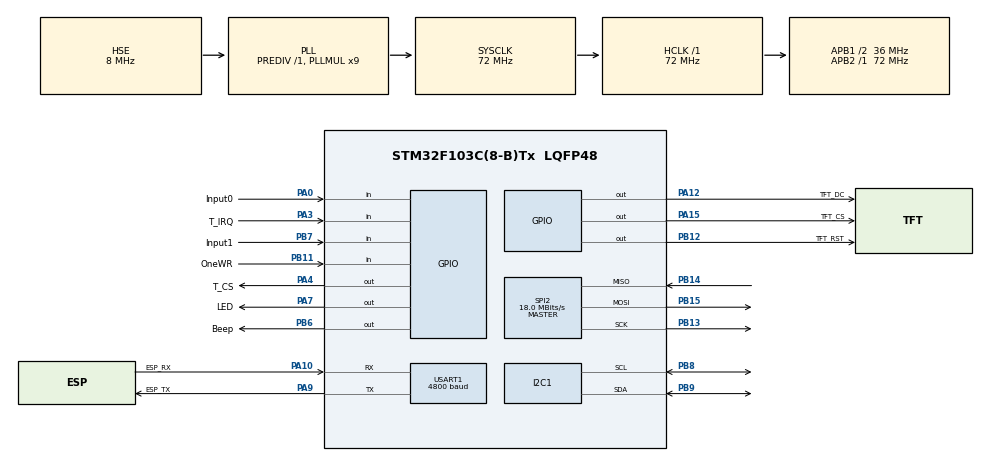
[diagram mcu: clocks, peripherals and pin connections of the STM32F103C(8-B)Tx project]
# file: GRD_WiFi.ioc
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Mcu.Family=STM32F1
Mcu.Name=STM32F103C(8-B)Tx
Mcu.Package=LQFP48
NVIC.PriorityGroup=NVIC_PRIORITYGROUP_4
NVIC.RTC_IRQn=true\:0\:0\:false\:false\:true\:true\:true\:true
NVIC.TIM1_UP_IRQn=true\:0\:0\:false\:false\:true\:true\:true\:true
NVIC.USART1_IRQn=true\:0\:0\:false\:false\:true\:true\:true\:true
PA0-WKUP.GPIO_Label=Input0
PA0-WKUP.GPIO_PuPd=GPIO_PULLUP
PA0-WKUP.Signal=GPIO_Input
PA10.GPIO_Label=ESP_RX
PA10.Mode=Asynchronous
PA10.Signal=USART1_RX
PA12.GPIO_Label=TFT_DC
PA12.GPIO_PuPd=GPIO_NOPULL
PA12.GPIO_Speed=GPIO_SPEED_FREQ_LOW
PA12.Signal=GPIO_Output
PA13.Mode=Serial_Wire
PA13.Signal=SYS_JTMS-SWDIO
PA14.Mode=Serial_Wire
PA14.Signal=SYS_JTCK-SWCLK
PA15.GPIO_Label=TFT_CS
PA15.GPIO_PuPd=GPIO_PULLUP
PA15.GPIO_Speed=GPIO_SPEED_FREQ_HIGH
PA15.Signal=GPIO_Output
PA3.GPIO_Label=T_IRQ
PA3.GPIO_PuPd=GPIO_NOPULL
PA3.Signal=GPIO_Input
PA4.GPIO_Label=T_CS
PA4.GPIO_PuPd=GPIO_PULLUP
PA4.GPIO_Speed=GPIO_SPEED_FREQ_HIGH
PA4.Signal=GPIO_Output
PA7.GPIO_Label=LED
PA7.PinState=GPIO_PIN_SET
PA7.Signal=GPIO_Output
PA9.GPIO_Label=ESP_TX
PA9.Mode=Asynchronous
PA9.Signal=USART1_TX
PB11.GPIO_Label=OneWR
PB11.GPIO_PuPd=GPIO_PULLUP
PB11.Signal=GPIO_Input
PB12.GPIO_Label=TFT_RST
PB12.GPIO_PuPd=GPIO_PULLUP
PB12.GPIO_Speed=GPIO_SPEED_FREQ_HIGH
PB12.Signal=GPIO_Output
PB13.Mode=Full_Duplex_Master
PB13.Signal=SPI2_SCK
PB14.Mode=Full_Duplex_Master
PB14.Signal=SPI2_MISO
PB15.Mode=Full_Duplex_Master
PB15.Signal=SPI2_MOSI
PB6.GPIO_Label=Beep
PB6.Signal=GPIO_Output
PB7.GPIO_Label=Input1
PB7.GPIO_PuPd=GPIO_PULLUP
PB7.Signal=GPIO_Input
PB8.GPIO_Pu=GPIO_PULLUP
PB8.Mode=I2C
PB8.Signal=I2C1_SCL
PB9.GPIO_Pu=GPIO_PULLUP
PB9.Mode=I2C
PB9.Signal=I2C1_SDA
PC14-OSC32_IN.Mode=LSE-External-Oscillator
PC14-OSC32_IN.Signal=RCC_OSC32_IN
PC15-OSC32_OUT.Mode=LSE-External-Oscillator
PC15-OSC32_OUT.Signal=RCC_OSC32_OUT
PD0-OSC_IN.Mode=HSE-External-Oscillator
PD0-OSC_IN.Signal=RCC_OSC_IN
PD1-OSC_OUT.Mode=HSE-External-Oscillator
PD1-OSC_OUT.Signal=RCC_OSC_OUT
ProjectManager.HeapSize=0x200
ProjectManager.StackSize=0x400
ProjectManager.TargetToolchain=MDK-ARM V5
RCC.AHBFreq_Value=72000000
RCC.APB1CLKDivider=RCC_HCLK_DIV2
RCC.APB1Freq_Value=36000000
RCC.APB1TimFreq_Value=72000000
RCC.APB2Freq_Value=72000000
RCC.APB2TimFreq_Value=72000000
RCC.HCLKFreq_Value=72000000
RCC.PLLMUL=RCC_PLL_MUL9
RCC.PLLSourceVirtual=RCC_PLLSOURCE_HSE
RCC.SYSCLKFreq_VALUE=72000000
RCC.SYSCLKSource=RCC_SYSCLKSOURCE_PLLCLK
RCC.USBFreq_Value=72000000
SPI2.CalculateBaudRate=18.0 MBits/s
SPI2.Direction=SPI_DIRECTION_2LINES
SPI2.Mode=SPI_MODE_MASTER
SPI2.VirtualType=VM_MASTER
TIM1.Period=999
TIM1.Prescaler=719
USART1.BaudRate=4800
USART1.VirtualMode=VM_ASYNC
VP_CRC_VS_CRC.Mode=CRC_Activate
VP_RTC_VS_RTC_Activate.Mode=RTC_Enabled
VP_TIM1_VS_ClockSourceINT.Mode=Internal
board=custom

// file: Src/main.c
/* USER CODE BEGIN Header */
/**
  ******************************************************************************
  * @file           : main.c
  * @brief          : Main program body
  ******************************************************************************
  * @attention
  *
  * Copyright (c) 2025 STMicroelectronics.
  * All rights reserved.
  *
  * This software is licensed under terms that can be found in the LICENSE file
  * in the root directory of this software component.
  * If no LICENSE file comes with this software, it is provided AS-IS.
  *
  ******************************************************************************
  */
/* USER CODE END Header */
#include "main.h"

/* USER CODE BEGIN Includes */
#include "..\Lib\st7796\myLCD.h"
#include "..\Lib\st7796\myGUI.h"
#include "..\Lib\Touch\XPT2046_touch.h"
#include "..\Lib\ds18b20\ds18b20.h"
#include "tft_proc.h"
#include "procedure.h"
#include "displ.h"
#include "nvRam.h"
#include "tftArcFill.h"
#include "uart.h"
/* USER CODE END Includes */

CRC_HandleTypeDef hcrc;

I2C_HandleTypeDef hi2c1;

RTC_HandleTypeDef hrtc;

SPI_HandleTypeDef hspi2;

TIM_HandleTypeDef htim1;

UART_HandleTypeDef huart1;

/* USER CODE BEGIN PV */
RTC_TimeTypeDef sTime;
RTC_DateTypeDef sDate;

char buffTFT[40];
const char* modeName[4]={"СУШЫННЯ","ОБЖАРКА","ВАРЫННЯ","КОПЧЕННЯ"};
const char* setName[MAX_SET]={"t КАМЕРИ","t ПРОДУКТА","t ДИМА","ТРИВАЛЫСТЬ","ШВИДКЫСТЬ","ТАЙМ.ON","ТАЙМ.OFF","ЫНШЕ"};
const char* otherName[MAX_OTHER]={"ПРОДУВАННЯ","АВАРЫЯ","ГЫСТЕРЕЗ","ОХОЛОДЖ.","Prop","Integ","Diff","N:","WiFi"};
const char* relayName[7]={"ПЫД","НАГРЫВ","ТАЙМЕР","ВОЛОГА","ЕЛЕКТРО","Кл.ДИМА","Кл.ВОДИ"};
//const char* analogName[2]={"ВЕНТИЛ.","ЫНШЕ"};
//        2.00V        3.15V        4.30V        5.45V        6.60V        7.75V        8.90V        10.00V
//={{1000,0x2F4},{1200,0x4A6},{1400,0x658},{1600,0x80A},{1800,0x9BC},{2000,0xB6E},{2200,0xD20},{2400,0xFFF}};//d=434->1.15V
//={{1000,0x2F4},{1200,0x4A6},{1400,0x655},{1600,0x804},{1800,0x9B6},{2000,0xB65},{2200,0xD14},{2400,0xFFF}};//d=434+коррекция
uint16_t speedData[MAX_SPEED][2], arhErrors[15];
int16_t pvTH, pvRH, tmrCounter, resetDispl=0, displOff=DISPLAYOFF;
uint16_t touch_x, touch_y, Y_str, X_left, Y_top, Y_bottom, fillScreen, color0, color1, checkSmoke, checkTime;
uint8_t dsplPW, displ_num, oldNumSet, buttonAmount, lost;
uint8_t timer10ms, tmrVent, ticBeep, pwTriac, invers;
uint8_t familycode[MAX_SENSOR][8], dsErr[MAX_SENSOR], myIp[4];
int8_t ds18b20_amount, numSet, tmrWater;
int8_t relaySet[8]={-1,-1,-1,-1,-1,-1,-1,-1};
int8_t analogSet[2]={-1,-1};
uint8_t analogOut[2]={0};

union Upv upv;
union Usd usd;
union Byte portFlag;
union Byte relayOut;
//union d4v crc;
PIDController pid;
#ifdef MANUAL_CHECK
  float flT0=320, dpv0;
#endif

//uint16_t xpos;
//uint16_t ypos;
//uint8_t radius;
//int16_t value;
//int16_t sp;

GrafDispl grafDispl[2] = {
    { 80,160,80, 0, 0},    // Инициализация grafDispl[0]
    {240,160,80, 0, 0},    // Инициализация grafDispl[1]
};

/* USER CODE END PV */

void SystemClock_Config(void);
static void MX_GPIO_Init(void);
static void MX_I2C1_Init(void);
static void MX_RTC_Init(void);
static void MX_TIM1_Init(void);
static void MX_CRC_Init(void);
static void MX_SPI2_Init(void);
static void MX_USART1_UART_Init(void);

/* USER CODE BEGIN 0 */
//-------- Обратный вызов с истекшим периодом --------------
void HAL_TIM_PeriodElapsedCallback(TIM_HandleTypeDef *htim){
  if(htim->Instance == TIM1){ //check if the interrupt comes from TIM1 (10 ms)
    checkTime++; timer10ms++;
    if(pwTriac) --pwTriac; else {
      TRIAC = OFF;                    // отключить (SSR-25DA)
      invers = ~relayOut.value;
      HAL_I2C_Master_Transmit(&hi2c1,0x4E,&invers,1,1000);
    }
    if(ticBeep){ --ticBeep; HAL_GPIO_WritePin(Beep_GPIO_Port, Beep_Pin, GPIO_PIN_SET);}// бипер
    else {HAL_GPIO_WritePin(Beep_GPIO_Port, Beep_Pin, GPIO_PIN_RESET);}
  }
}

/* USER CODE END 0 */

int main(void)
{

  /* USER CODE BEGIN 1 */
  int16_t i16;
  uint16_t u16;
//  uint8_t temp=0, pvspeed=0;

  /* USER CODE END 1 */

  /* MCU Configuration--------------------------------------------------------*/

  /* Reset of all peripherals, Initializes the Flash interface and the Systick. */
  HAL_Init();

  /* Configure the system clock */
  SystemClock_Config();

  /* Initialize all configured peripherals */
  MX_GPIO_Init();
  MX_I2C1_Init();
  MX_RTC_Init();
  MX_TIM1_Init();
  MX_CRC_Init();
  MX_SPI2_Init();
  MX_USART1_UART_Init();
  /* USER CODE BEGIN 2 */
  u16 = sendToI2c(0);//  отключение вентилятора

  HAL_GPIO_WritePin(Beep_GPIO_Port, Beep_Pin, GPIO_PIN_SET);
  HAL_Delay(200);
  HAL_GPIO_WritePin(Beep_GPIO_Port, Beep_Pin, GPIO_PIN_RESET);

  fillScreen = BLACK; color0 = WHITE;
  Y_bottom=lcddev.height-22; Y_str = 5;
  LCD_Init(USE_VERTICAL0);
  GUI_Clear(fillScreen);
  if((lcddev.dir&1)==0) X_left = 20; else X_left = 100;
  #ifdef MANUAL_CHECK
  GUI_WriteString(30, Y_str, "MANUAL CHECK", Font_16x26, ORANGE, fillScreen);
  #else
  GUI_WriteString(30, Y_str, "GRD Max", Font_16x26, WHITE, fillScreen);
  GUI_WriteString(160, Y_str+5, " v 4.2.0 WiFi", Font_11x18, WHITE, fillScreen);
  #endif
  Y_str = Y_str+18+35;

  i16 = initData();
  ds18b20_port_init();      // линия 1-Wire
  ds18b20_checkSensor(4);   // check DS18B20 sensors: only 4 pcs

  switch (i16){
  	case 0: GUI_WriteString(5, Y_str, "Ыныцыалызацыя успышна.", Font_11x18, GREEN, BLACK);	break;
  	case 1: GUI_WriteString(5, Y_str, "Первинна ыныцыалызацыя.", Font_11x18, YELLOW, BLACK);	break;
    case 3: GUI_WriteString(5, Y_str, "Помилки читання FLASH!", Font_11x18, YELLOW, RED);	break;
  	default:GUI_WriteString(5, Y_str, "Невыдома помилка!", Font_11x18, MAGENTA, BLACK);	break;
  }
  Y_str = Y_str+18+5;

  if(i16){
    sprintf(buffTFT,"Check sum: 0x%08X",dataRAM.config.checkSum);
    GUI_WriteString(5, Y_str, buffTFT, Font_11x18, WHITE, BLACK);
    Y_str = Y_str+18+5;
    sprintf(buffTFT,"Number of saves: %u",dataRAM.config.countSave);
    GUI_WriteString(5, Y_str, buffTFT, Font_11x18, WHITE, BLACK);
    Y_str = Y_str+18+5;
    HAL_Delay(1000);
  }
  //---------------------------- линия 1-Wire -----------------------------------
  if(ds18b20_amount){
    for(uint8_t i=0;i<ds18b20_amount;i++) upv.pv.t[i]=1999;
    ds18b20_Convert_T();
  }
  sprintf(buffTFT,"Датчикыв температури: %d шт.",ds18b20_amount);
  GUI_WriteString(5, Y_str, buffTFT, Font_11x18, CYAN, BLACK);
  Y_str = Y_str+18+5;

  HAL_GPIO_WritePin(Beep_GPIO_Port, Beep_Pin, GPIO_PIN_SET);
  HAL_Delay(200);
  HAL_GPIO_WritePin(Beep_GPIO_Port, Beep_Pin, GPIO_PIN_RESET);
  HAL_Delay(200);
  HAL_GPIO_WritePin(Beep_GPIO_Port, Beep_Pin, GPIO_PIN_SET);
  HAL_Delay(200);
  HAL_GPIO_WritePin(Beep_GPIO_Port, Beep_Pin, GPIO_PIN_RESET);

  HAL_RTCEx_SetSecond_IT(&hrtc);          /* ------  таймер 1Гц.  период  1 сек.    ----*/
  HAL_TIM_Base_Start_IT(&htim1);          /* ------  таймер 100Гц.  период  10 мс.  ----*/

  NEWBUTT = ON;
  sprintf(buffTFT,"Kp=%2.1f; Ki=%1.4f; Kd=%3u;",pid.Kp,pid.Ki,pid.Kd);
  GUI_WriteString(5, Y_str, buffTFT, Font_11x18, YELLOW, BLACK);
  Y_str = Y_str+18+5;
  #ifdef MANUAL_CHECK
      sprintf(buffTFT,"WIDTH: %u; HEIGHT: %u",lcddev.width,lcddev.height);
      GUI_WriteString(5, Y_str, buffTFT, Font_11x18, YELLOW, BLACK);
      Y_str = Y_str+18+5;
      upv.pv.t[1]=220; upv.pv.t[2]=150; upv.pv.t[3]=200;
      int8_t dpv1 = 2, dpv2 = 2, dpv3 = 2, count;
  #endif
  // -------------------------------------- КЛЮЧЕВАЯ ЛОГИКА ВОССТАНОВЛЕНИЯ ПОСЛЕ СБОЯ ПИТАНИЯ -----------------------------------
  // Читаем регистр с флагом если "магическое число" на месте, значит, питание пропало во время сушки.
  if (HAL_RTCEx_BKUPRead(&hrtc, BKP_REG_DRYING_FLAG) == DRYING_PROCESS_FLAG_MAGIC){
    // Восстанавливаем время.
    uint32_t current_time_minutes = HAL_RTCEx_BKUPRead(&hrtc, BKP_REG_REMAINING_TIME);
    sTime.Hours = current_time_minutes/60;
    sTime.Minutes = current_time_minutes%60;
    NEWBUTT = 1; startPrg(1);
    GUI_WriteString(5, Y_str, "Виявлений збый живлення!", Font_11x18, RED, BLACK);
    Y_str = Y_str+18+5;
    sprintf(buffTFT,"Выдновлення з %u год. %u хв.",sTime.Hours, sTime.Minutes);
    GUI_WriteString(5, Y_str, buffTFT, Font_11x18, YELLOW, BLACK);
    Y_str = Y_str+18+5;
    ticBeep=255;
    HAL_Delay(5000);
    ticBeep=255;
    HAL_Delay(5000);
  } else {
    GUI_WriteString(5, Y_str, "Звичайний старт!", Font_11x18, GREEN, BLACK);
    Y_str = Y_str+18+5;
  }
  // ------------------------------------------------- КОНЕЦ ЛОГИКИ ВОССТАНОВЛЕНИЯ ----------------------------------------------------
  HAL_Delay(800);
  temperature_check();
  for (i16 = 0; i16 < ds18b20_amount; i16++){
      sprintf(buffTFT,"Датчик N%u = %3.1f$ ", i16+1,(float)upv.pv.t[i16]/10);
      GUI_WriteString(5, Y_str, buffTFT, Font_11x18, WHITE, BLACK);
      Y_str = Y_str+18+5;
  }
  ticBeep=50;
  HAL_Delay(3000);
  /* USER CODE END 2 */

  /* Infinite loop */
  /* USER CODE BEGIN WHILE */
  while (1)
  {
        Y_str = 5; X_left = 5;
    //-------------------------- ТАЧСКРИН ---------------------------------------
    if(XPT2046_TouchPressed()&& checkTime>40){
      uint8_t butt_num;
      if(XPT2046_TouchGetCoordinates(&touch_x, &touch_y)){
        HAL_GPIO_WritePin(LED_GPIO_Port, LED_Pin, GPIO_PIN_SET);// включение дисплея
        displOff=DISPLAYOFF;
        for (butt_num=0; butt_num<buttonAmount; butt_num++){
            if(contains(touch_x, touch_y, butt_num)) break;     // проверка попадания новой координаты в область кнопки
        }
      }
      checkButtons(butt_num);                           // проверка нажатой кнопки
      if(displ_num==0 && !(WORK|VENTIL|PURGING)){
        if(topDispl(touch_x, touch_y)) {newval[0] = upv.pv.modeCell; newval[1]=-1; newval[2]=-1; displ_num = 4; butt_num = 10; resetDispl = 180; NEWBUTT = 1;} // ЗМІНА РЕЖИМУ
      }
      checkTime = 0; CHECK = ON;
    }

    // ----------- УВЛАЖНИТЕЛЬ только в режиме варка modeCell==2 и TMON && TMOFF !=0 --------------------
    if(WORK && upv.pv.modeCell==2){
      if(upv.pv.set[TMON]!=0 && upv.pv.set[TMOFF]!=0){
        if(timer10ms){                  // шаг отсчета интервала таймера 10 милисек.
          timer10ms=0;
          HUMIDI=humidifier(HUMIDI);    // проверим выход на увлажнитель
          invers = ~relayOut.value;
          HAL_I2C_Master_Transmit(&hi2c1,0x4E,&invers,1,1000);
        }
      }
    }

    //-------------- Начало проверки каждую 1 сек. -----------------------
    if(CHECK){ CHECK = OFF; upv.pv.errors=0;  //if(++temp>10) {temp=0; ++pvspeed; pvspeed&=7; upv.pv.t[1] = speedData[pvspeed][0]; sendToI2c(speedData[pvspeed][1]);}
    dsplPW = 0;
    if(resetDispl) --resetDispl;
    else if(displ_num){displ_num = 0; NEWBUTT = 1; displOff=DISPLAYOFF;}  // возврат к главному дисплею
    else if(displOff) --displOff;
    else HAL_GPIO_WritePin(LED_GPIO_Port, LED_Pin, GPIO_PIN_RESET);       // отключение дисплея через 5 минут

    #ifndef MANUAL_CHECK
      temperature_check();
    #endif
      //---------------------------------- Проверка работы вентилятора -------------------------------------
      if(VENTIL){
        if(HAL_GPIO_ReadPin(Input0_GPIO_Port, Input0_Pin) == GPIO_PIN_RESET) {SPEED=ON; tmrVent=0;} // если контакт замкнут
        else SPEED=OFF;
    #ifdef MANUAL_CHECK
        SPEED=ON; tmrVent=0;
    #endif
        if(tmrVent) --tmrVent;    // ожидаем замыкания контакта частотного преобразователя
        else if(SPEED) WORK=ON;
        else {upv.pv.errors |= ERR8; WORK=OFF; relayOut.value=OFF;}  // НЕ ПРАЦЮЭ ВЕНТИЛЯТОР
      }
      //------------------------------------------- В РАБОТЕ -----------------------------------------------
      if(WORK){
        TIMER=ON;         // всегда включен в работу
        if(upv.pv.modeCell==2){  // только в режиме варка modeCell==2
          if(HAL_GPIO_ReadPin(Input1_GPIO_Port, Input1_Pin) == GPIO_PIN_RESET){
            if(++tmrWater>5) {tmrWater=5; WATER=ON;}
          }
          else {
            if(--tmrWater<0) {tmrWater=0; WATER=OFF;}
          }
        }
        else WATER=OFF;
        //------------ устанавливаем color0 в соответсвии с отклонением ------------------------
        i16 = upv.pv.set[T0]*10 - upv.pv.t[0];           // величина ошибки регулирования датчика 0
        uint16_t abs16 = abs(i16);
        if(abs16 < upv.pv.set[HIST]) PERFECT=ON;         // Вышли на заданную температуру
        u16 = upv.pv.set[ALRM]*10;                     // привяжем к аварии

        if(i16<=0){
          if(abs16<u16) color0 = GREEN;         // норма
          else if(abs16>=u16 && abs16<u16*2){upv.pv.errors|=ERR5; color0 = ORANGE;} // ВІДХІЛЕННЯ ТЕМПЕРАТУРИ
          else {upv.pv.errors|=ERR3; color0 = RED;}    // ПЕРЕГРЕВ В КАМЕРЕ
        }
        else {
          if(abs16<u16) color0 = GREEN;         // норма
          else if(abs16>=u16*2){
            color0 = CYAN;                      // НИЖЕ нормы
            if(PERFECT) upv.pv.errors|=ERR5;           // ВІДХІЛЕННЯ ТЕМПЕРАТУРИ
          }
        }

        //------------ устанавливаем color1 в соответсвии с отклонением -------------------------
        i16 = upv.pv.set[T1]*10 - upv.pv.t[1];           // величина ошибки регулирования датчика 1
        abs16 = abs(i16);

        if(i16<=0){
          if(abs16<u16/2)color1 = GREEN;        // норма
          else if(abs16>=u16/2 && abs16<u16) color1 = ORANGE;  // ВІДХІЛЕННЯ ТЕМПЕРАТУРИ
          else {upv.pv.errors|=ERR4; color1 = RED;}    // ПЕРЕГРЕВ В ПРОДУКТЕ
        }
        else {
          if(abs16<u16/2)color1 = GREEN;        // норма
          else if(abs16>=u16) color1 = CYAN;    // НИЖЕ нормы
        }

        // ---------------------------------------- НАГРЕВАТЕЛЬ / ОХЛАДИТЕЛЬ -------------------------------------
        //------ работает как нагреватель
        if(upv.pv.t[0]<1999 && upv.pv.t[0]>1){
          i16 = Relay(upv.pv.set[T0]*10 - upv.pv.t[0], upv.pv.set[HIST]);   // величина ошибки температуры воздуха
        }
        if(ds18b20_amount>1 && upv.pv.t[1]<1999){             // величина ошибки температурs среды
          u16 = Relay(upv.pv.set[T1]*10 - upv.pv.t[1], 0);
        }
        if(u16==ON) pwTriac = UpdatePID(&pid,0);            // ПИД нагреватель
        else {i16 = OFF; upv.pv.errors &= ~ERR5;}
        if(pwTriac) TRIAC = ON;                             // включить (SSR-25DA)
        dsplPW = pwTriac;
        if(dsplPW>100) dsplPW = 100;
        //------ работает как охладитель
        if(upv.pv.set[CHILL]&1){
          i16 = Relay(upv.pv.t[0] - upv.pv.set[T0]*10, upv.pv.set[HIST]);
          if(upv.pv.t[0] > BEGINCOOL) i16 = OFF;              // температура выше которой ЗАПРЕЩЕНО включение охлаждения
        }
        switch (i16){
          case ON:  HEATER = ON;  break;
          case OFF: HEATER = OFF; break;
        }

        //-------------------------- Только для режима КОПЧЕНИЯ ---------------------------------
        if(upv.pv.modeCell==3){
          ELECTRO = ignition(ELECTRO);
          i16 = upv.pv.set[T2]*10 - upv.pv.t[2];   // величина ошибки регулирования датчика 2 (Дым)
          if(++checkSmoke>CHKSMOKE){      // (відхилення 2 грд.Ц) ТЕМПЕРАТУРЫ ДЫМА
            checkSmoke=CHKSMOKE;
            if(abs(i16) > upv.pv.set[ALRM]*10*2) upv.pv.errors|=ERR6;
          }
          u16 = Relay(i16, upv.pv.set[HIST]);  // величина ошибки температуры дыма
          switch (u16){
            case ON:  SMOKE = ON;  break;
            case OFF: SMOKE = OFF; break;
          }
        }

        //-------------------------- Только для режима ВАРЕНИЯ ---------------------------------
        if(upv.pv.modeCell==2){
          if(upv.pv.set[TMON]==0 || upv.pv.set[TMOFF]==0){
            i16 = upv.pv.set[T3]*10 - upv.pv.t[3];     // величина ошибки регулирования датчика 3 (Влажность)
            u16 = Relay(i16, upv.pv.set[HIST]);      // ЧЕТВЕРТЫЙ датчик - датчик влажности
            if(upv.pv.t[0] < BEGINHUM) u16=OFF; // запрет увлажнения при температуре ниже 40 грд.
            switch (u16){
              case ON:  HUMIDI = ON;  break;
              case OFF: HUMIDI = OFF; break;
            }
          }
        }
//        else HUMIDI = OFF;

#ifdef MANUAL_CHECK
        //?????? Програмное задание температур ??????????
        count++;
        //-----температура воздуха------
        dpv0 = (float)pid.pPart/500 + (float)(pid.output-5)/100;
        flT0+=dpv0;
        upv.pv.t[0] = flT0;
        int16_t pverr = upv.pv.set[T0]*10 - upv.pv.t[0];
        //----температура среды------
        if(count>3){ count=0;
          pverr = upv.pv.set[T1]*10 - upv.pv.t[1];
          dpv1 =-1;
          if(pverr>200) dpv1 = 6;
          else if(pverr>100) dpv1 = 4;
          else if(pverr>50) dpv1 = 2;
          else if(pverr>10) dpv1 = 1;
          upv.pv.t[1]+=dpv1;
        }
        //-----температура дыма---------
        pverr = upv.pv.set[T2]*10 - upv.pv.t[2];
        if(pverr>50) dpv2 = 5;
        else if(pverr>25) dpv2 = 1;
        else if(pverr<-25) dpv2 = -1;
        if(i16==OFF) dpv2=0;
        upv.pv.t[2]+=dpv2;
        //----влажный датчик--------
        pverr = upv.pv.set[T3]*10 - upv.pv.t[3];
        if(pverr>150) dpv3 = 5;
        else if(HUMIDI==ON) dpv3 = 1;
        else if(HUMIDI==OFF) dpv3 = -1;
        upv.pv.t[3]+=dpv3;
        //????????????????????????????????????????????????
#endif

        //------------------------- ЗВЕРШЕНИЕ текущего режима ----------------------------------
        if(upv.pv.set[TMR0]>0){                                // если TMR0>0 то завершение режима по таймеру
          u16 = sTime.Hours*60 + sTime.Minutes;         // всего в минутах
          i16 = (upv.pv.set[TMR0] - u16)*60 - sTime.Seconds;   // осталось до выключения в секундах
          if(i16<30) ticBeep = 5;                       // включить сигнал
          if(i16<=0){                                   // завершение режима
            portFlag.value = OFF; PURGING=ON; relayOut.value=OFF; ticBeep=200;
            //------- далее продувка ---------
              sTime.Hours=0; sTime.Minutes=0; sTime.Seconds=0;
              HAL_RTC_SetTime(&hrtc, &sTime, RTC_FORMAT_BIN);
          }
        }
        else if(ds18b20_amount==1){      // если только 1 датчик и продолжительность 0 то завершение по температуре камеры.
          i16 = Relay(upv.pv.set[T0]*10 - upv.pv.t[0], 0);   // температура камеры
          if(i16==OFF){
            portFlag.value = OFF; PURGING=ON; relayOut.value=OFF; ticBeep=200;
            //------- далее продувка ---------
            sTime.Hours=0; sTime.Minutes=0; sTime.Seconds=0;
            HAL_RTC_SetTime(&hrtc, &sTime, RTC_FORMAT_BIN);
          }
        }
        else if(ds18b20_amount>1){      // если датчиков много и продолжительность 0 то завершение по температуре среды.
          i16 = Relay(upv.pv.set[T1]*10 - upv.pv.t[1], 0);   // температура камеры
          if(i16==OFF){
            portFlag.value = OFF; PURGING=ON; relayOut.value=OFF; ticBeep=200;
            //------- далее продувка ---------
            sTime.Hours=0; sTime.Minutes=0; sTime.Seconds=0;
            HAL_RTC_SetTime(&hrtc, &sTime, RTC_FORMAT_BIN);
          }
        }

      } //--------------------------- КОНЕЦ в работе -----------------------------------------------
      else if(PURGING){
        u16 = sTime.Minutes*60+sTime.Seconds;           // всего в секундах
        if(u16>=upv.pv.set[TMR1]) {PURGING=OFF; sendToI2c(0); NEWBUTT=ON; ticBeep=200;}
      }
      //------ Проверка на ручное управление ---------------------------------------
      for (i16=0;i16<7;i16++){
          if(relaySet[i16]==1) relayOut.value |= (1<<(i16)); // ручной On
          if(relaySet[i16]==0) relayOut.value &= ~(1<<(i16));// ручной Off
      }
      invers = ~relayOut.value;
      HAL_I2C_Master_Transmit(&hi2c1,0x4E,&invers,1,1000);
//      for (i16=0;i16<2;i16++){  // ручное управление аналоговыми выводами
//        if(analogSet[i16]>-1) analogOut[i16]=analogSet[i16];
//      }
      if(upv.pv.errors && (upv.pv.set[CHILL]&2)==0){    // 2-отключены аварийные звуковые сигналы
        switch (upv.pv.errors){
          case 0x01: ticBeep = 80; break; // ПОМИЛКА ДАТЧИКА N1
          case 0x02: ticBeep = 80; break; // ПОМИЛКА ДАТЧИКА N2
          case 0x04: ticBeep = 80; break; // ПОМИЛКА ДАТЧИКА N3
          case 0x08: ticBeep = 80; break; // ПОМИЛКА ДАТЧИКА N4
          case ERR3: ticBeep = 80; break; // ПЕРЕГРЫВ В КАМЕРI
          case ERR4: ticBeep =120; break; // ПЕРЕГРЫВ В ПРОДУКТI
          case ERR5: ticBeep = 10; break; // ВЫДХЫЛЕННЯ ТЕМПЕРАТУРИ
          case ERR6: ticBeep = 20; break; // ВЫДХЫЛЕННЯ ТЕМПЕРАТУРИ ДИМA
          case ERR7: ticBeep = 60; break; //
          case ERR8: ticBeep = 60; break; // НЕ ПРАЦЮЭ ВЕНТИЛЯТОР
          default:
            if(upv.pv.errors==0x0C) ticBeep = 80;
            else ticBeep =200;
          break;
        }
      }
      if(upv.pv.errors) ALARM = ON; else ALARM = OFF;  // световой сигнал ошибки
      display();
      // -------------------- UART ----------------------------------
      upv.pv.portFlag = portFlag.value;
      upv.pv.currHour = sTime.Hours;
      upv.pv.currMin = sTime.Minutes;
      upv.pv.currSec = sTime.Seconds;
      //-------------------------------------------------------------
      uint8_t crc[2] = {0,END_MARKER}, stmk = START_MARKER;
      for(uint8_t i=0;i<RAMPV_SIZE;i++) {
          crc[0] ^= upv.dataUnion[i]; // Using XOR to calculate the checksum
      }
      HAL_UART_Transmit(&huart1,&stmk,1,0x1000);      // Отправляем: [Старт]
      HAL_UART_Transmit(&huart1,upv.dataUnion,RAMPV_SIZE,0x1000); // [Данные]
      HAL_UART_Transmit(&huart1,crc,2,0x1000);                    // [CRC] [Конец]
      HAL_UART_Receive_IT(&huart1,(uint8_t*)rxBuffer,SEND_SIZE+3);// Принимаем [Старт][Данные][CRC][Конец]
    }
    //-------------- КОНЕЦ проверки каждую 1 сек. -----------------------
    /* USER CODE END WHILE */

  }
}

void SystemClock_Config(void)
{
  RCC_OscInitTypeDef RCC_OscInitStruct = {0};
  RCC_ClkInitTypeDef RCC_ClkInitStruct = {0};
  RCC_PeriphCLKInitTypeDef PeriphClkInit = {0};

  /** Initializes the RCC Oscillators according to the specified parameters
  * in the RCC_OscInitTypeDef structure.
  */
  RCC_OscInitStruct.OscillatorType = RCC_OSCILLATORTYPE_LSI|RCC_OSCILLATORTYPE_HSE;
  RCC_OscInitStruct.HSEState = RCC_HSE_ON;
  RCC_OscInitStruct.HSEPredivValue = RCC_HSE_PREDIV_DIV1;
  RCC_OscInitStruct.HSIState = RCC_HSI_ON;
  RCC_OscInitStruct.LSIState = RCC_LSI_ON;
  RCC_OscInitStruct.PLL.PLLState = RCC_PLL_ON;
  RCC_OscInitStruct.PLL.PLLSource = RCC_PLLSOURCE_HSE;
  RCC_OscInitStruct.PLL.PLLMUL = RCC_PLL_MUL9;
  if (HAL_RCC_OscConfig(&RCC_OscInitStruct) != HAL_OK)
  {
    Error_Handler();
  }

  /** Initializes the CPU, AHB and APB buses clocks
  */
  RCC_ClkInitStruct.ClockType = RCC_CLOCKTYPE_HCLK|RCC_CLOCKTYPE_SYSCLK
                              |RCC_CLOCKTYPE_PCLK1|RCC_CLOCKTYPE_PCLK2;
  RCC_ClkInitStruct.SYSCLKSource = RCC_SYSCLKSOURCE_PLLCLK;
  RCC_ClkInitStruct.AHBCLKDivider = RCC_SYSCLK_DIV1;
  RCC_ClkInitStruct.APB1CLKDivider = RCC_HCLK_DIV2;
  RCC_ClkInitStruct.APB2CLKDivider = RCC_HCLK_DIV1;

  if (HAL_RCC_ClockConfig(&RCC_ClkInitStruct, FLASH_LATENCY_2) != HAL_OK)
  {
    Error_Handler();
  }
  PeriphClkInit.PeriphClockSelection = RCC_PERIPHCLK_RTC;
  PeriphClkInit.RTCClockSelection = RCC_RTCCLKSOURCE_LSI;
  if (HAL_RCCEx_PeriphCLKConfig(&PeriphClkInit) != HAL_OK)
  {
    Error_Handler();
  }
}

static void MX_CRC_Init(void)
{

  hcrc.Instance = CRC;
  if (HAL_CRC_Init(&hcrc) != HAL_OK)
  {
    Error_Handler();
  }

}

static void MX_I2C1_Init(void)
{

  hi2c1.Instance = I2C1;
  hi2c1.Init.ClockSpeed = 100000;
  hi2c1.Init.DutyCycle = I2C_DUTYCYCLE_2;
  hi2c1.Init.OwnAddress1 = 0;
  hi2c1.Init.AddressingMode = I2C_ADDRESSINGMODE_7BIT;
  hi2c1.Init.DualAddressMode = I2C_DUALADDRESS_DISABLE;
  hi2c1.Init.OwnAddress2 = 0;
  hi2c1.Init.GeneralCallMode = I2C_GENERALCALL_DISABLE;
  hi2c1.Init.NoStretchMode = I2C_NOSTRETCH_DISABLE;
  if (HAL_I2C_Init(&hi2c1) != HAL_OK)
  {
    Error_Handler();
  }

}

static void MX_RTC_Init(void)
{

  /** Initialize RTC Only
  */
  hrtc.Instance = RTC;
  hrtc.Init.AsynchPrediv = RTC_AUTO_1_SECOND;
  hrtc.Init.OutPut = RTC_OUTPUTSOURCE_ALARM;
  if (HAL_RTC_Init(&hrtc) != HAL_OK)
  {
    Error_Handler();
  }

}

static void MX_SPI2_Init(void)
{

  /* SPI2 parameter configuration*/
  hspi2.Instance = SPI2;
  hspi2.Init.Mode = SPI_MODE_MASTER;
  hspi2.Init.Direction = SPI_DIRECTION_2LINES;
  hspi2.Init.DataSize = SPI_DATASIZE_8BIT;
  hspi2.Init.CLKPolarity = SPI_POLARITY_LOW;
  hspi2.Init.CLKPhase = SPI_PHASE_1EDGE;
  hspi2.Init.NSS = SPI_NSS_SOFT;
  hspi2.Init.BaudRatePrescaler = SPI_BAUDRATEPRESCALER_2;
  hspi2.Init.FirstBit = SPI_FIRSTBIT_MSB;
  hspi2.Init.TIMode = SPI_TIMODE_DISABLE;
  hspi2.Init.CRCCalculation = SPI_CRCCALCULATION_DISABLE;
  hspi2.Init.CRCPolynomial = 10;
  if (HAL_SPI_Init(&hspi2) != HAL_OK)
  {
    Error_Handler();
  }

}

static void MX_TIM1_Init(void)
{

  TIM_ClockConfigTypeDef sClockSourceConfig = {0};
  TIM_MasterConfigTypeDef sMasterConfig = {0};

  htim1.Instance = TIM1;
  htim1.Init.Prescaler = 719;
  htim1.Init.CounterMode = TIM_COUNTERMODE_UP;
  htim1.Init.Period = 999;
  htim1.Init.ClockDivision = TIM_CLOCKDIVISION_DIV1;
  htim1.Init.RepetitionCounter = 0;
  htim1.Init.AutoReloadPreload = TIM_AUTORELOAD_PRELOAD_DISABLE;
  if (HAL_TIM_Base_Init(&htim1) != HAL_OK)
  {
    Error_Handler();
  }
  sClockSourceConfig.ClockSource = TIM_CLOCKSOURCE_INTERNAL;
  if (HAL_TIM_ConfigClockSource(&htim1, &sClockSourceConfig) != HAL_OK)
  {
    Error_Handler();
  }
  sMasterConfig.MasterOutputTrigger = TIM_TRGO_RESET;
  sMasterConfig.MasterSlaveMode = TIM_MASTERSLAVEMODE_DISABLE;
  if (HAL_TIMEx_MasterConfigSynchronization(&htim1, &sMasterConfig) != HAL_OK)
  {
    Error_Handler();
  }

}

static void MX_USART1_UART_Init(void)
{

  huart1.Instance = USART1;
  huart1.Init.BaudRate = 4800;
  huart1.Init.WordLength = UART_WORDLENGTH_8B;
  huart1.Init.StopBits = UART_STOPBITS_1;
  huart1.Init.Parity = UART_PARITY_NONE;
  huart1.Init.Mode = UART_MODE_TX_RX;
  huart1.Init.HwFlowCtl = UART_HWCONTROL_NONE;
  huart1.Init.OverSampling = UART_OVERSAMPLING_16;
  if (HAL_UART_Init(&huart1) != HAL_OK)
  {
    Error_Handler();
  }

}

static void MX_GPIO_Init(void)
{
  GPIO_InitTypeDef GPIO_InitStruct = {0};

  /* GPIO Ports Clock Enable */
  __HAL_RCC_GPIOC_CLK_ENABLE();
  __HAL_RCC_GPIOD_CLK_ENABLE();
  __HAL_RCC_GPIOA_CLK_ENABLE();
  __HAL_RCC_GPIOB_CLK_ENABLE();

  /*Configure GPIO pin Output Level */
  HAL_GPIO_WritePin(GPIOA, T_CS_Pin|TFT_DC_Pin|TFT_CS_Pin, GPIO_PIN_RESET);

  /*Configure GPIO pin Output Level */
  HAL_GPIO_WritePin(LED_GPIO_Port, LED_Pin, GPIO_PIN_SET);

  /*Configure GPIO pin Output Level */
  HAL_GPIO_WritePin(GPIOB, TFT_RST_Pin|Beep_Pin, GPIO_PIN_RESET);

  /*Configure GPIO pin : Input0_Pin */
  GPIO_InitStruct.Pin = Input0_Pin;
  GPIO_InitStruct.Mode = GPIO_MODE_INPUT;
  GPIO_InitStruct.Pull = GPIO_PULLUP;
  HAL_GPIO_Init(Input0_GPIO_Port, &GPIO_InitStruct);

  /*Configure GPIO pin : T_IRQ_Pin */
  GPIO_InitStruct.Pin = T_IRQ_Pin;
  GPIO_InitStruct.Mode = GPIO_MODE_INPUT;
  GPIO_InitStruct.Pull = GPIO_NOPULL;
  HAL_GPIO_Init(T_IRQ_GPIO_Port, &GPIO_InitStruct);

  /*Configure GPIO pins : T_CS_Pin TFT_CS_Pin */
  GPIO_InitStruct.Pin = T_CS_Pin|TFT_CS_Pin;
  GPIO_InitStruct.Mode = GPIO_MODE_OUTPUT_PP;
  GPIO_InitStruct.Pull = GPIO_PULLUP;
  GPIO_InitStruct.Speed = GPIO_SPEED_FREQ_HIGH;
  HAL_GPIO_Init(GPIOA, &GPIO_InitStruct);

  /*Configure GPIO pins : LED_Pin TFT_DC_Pin */
  GPIO_InitStruct.Pin = LED_Pin|TFT_DC_Pin;
  GPIO_InitStruct.Mode = GPIO_MODE_OUTPUT_PP;
  GPIO_InitStruct.Pull = GPIO_NOPULL;
  GPIO_InitStruct.Speed = GPIO_SPEED_FREQ_LOW;
  HAL_GPIO_Init(GPIOA, &GPIO_InitStruct);

  /*Configure GPIO pins : OneWR_Pin Input1_Pin */
  GPIO_InitStruct.Pin = OneWR_Pin|Input1_Pin;
  GPIO_InitStruct.Mode = GPIO_MODE_INPUT;
  GPIO_InitStruct.Pull = GPIO_PULLUP;
  HAL_GPIO_Init(GPIOB, &GPIO_InitStruct);

  /*Configure GPIO pin : TFT_RST_Pin */
  GPIO_InitStruct.Pin = TFT_RST_Pin;
  GPIO_InitStruct.Mode = GPIO_MODE_OUTPUT_PP;
  GPIO_InitStruct.Pull = GPIO_PULLUP;
  GPIO_InitStruct.Speed = GPIO_SPEED_FREQ_HIGH;
  HAL_GPIO_Init(TFT_RST_GPIO_Port, &GPIO_InitStruct);

  /*Configure GPIO pin : Beep_Pin */
  GPIO_InitStruct.Pin = Beep_Pin;
  GPIO_InitStruct.Mode = GPIO_MODE_OUTPUT_PP;
  GPIO_InitStruct.Pull = GPIO_NOPULL;
  GPIO_InitStruct.Speed = GPIO_SPEED_FREQ_LOW;
  HAL_GPIO_Init(Beep_GPIO_Port, &GPIO_InitStruct);

}

/* USER CODE BEGIN 4 */
void HAL_UART_RxCpltCallback(UART_HandleTypeDef *huart){
  espCallback();
}
/* USER CODE END 4 */

void Error_Handler(void)
{
  __disable_irq();
  while (1)
  {
  }
}
